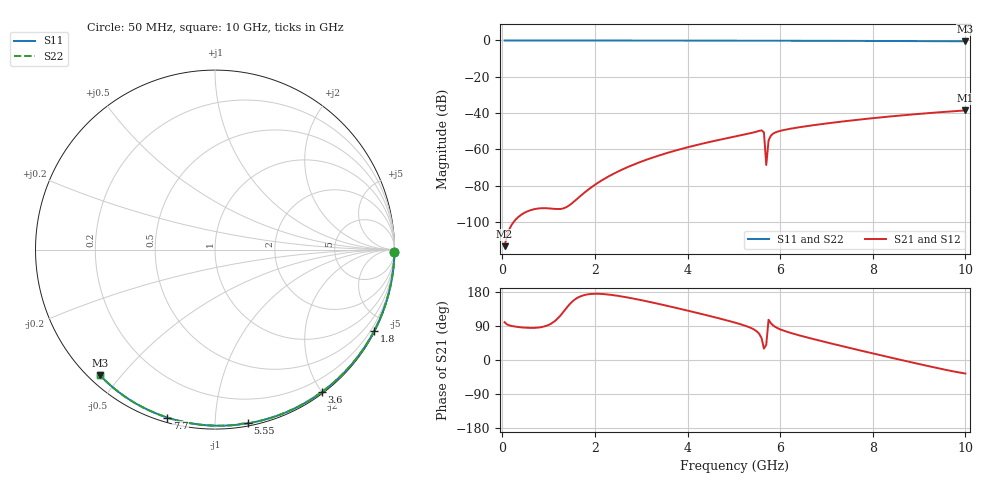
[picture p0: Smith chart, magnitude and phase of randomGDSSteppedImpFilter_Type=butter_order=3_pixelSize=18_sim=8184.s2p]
! freq	dB(S11)	phase(S11)	dB(S12)	phase(S12)
!  dB(S21)	phase(S21)	dB(S22)	phase(S22)
!S-par simulation data
#  GHz  S  DB  R 50
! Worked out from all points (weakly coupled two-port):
!   200 points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, 50 MHz to 10 GHz, reference 50 ohm
!   highest |S21| = -38.53 dB at 10 GHz (marker M1); lowest = -113.2 dB at 50 MHz (marker M2)
!   lowest |S11| = -0.5 dB at 10 GHz (marker M3), VSWR 38.20, Z = 1.56 - j22 ohm
!   |S11| at or under -10 dB: nowhere
!   |S22| runs from -0.5 to 0.0 dB; largest |S21 - S12| = 0
!   S11 on the Smith chart (normalised r, x): 50 MHz: open; 1.8 GHz: 0.04, -4.14; 3.6 GHz: 0.02, -2.00; 5.55 GHz: 0.02, -1.21; 7.7 GHz: 0.02, -0.76; 10 GHz: 0.03, -0.44
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0.05  -0.00 -0.8  -113.23 99.8  -113.23 99.8  -0.00 -0.8
0.9  -0.02 -13.7  -92.32 88.3  -92.32 88.3  -0.02 -13.7
1.75  -0.03 -26.4  -84.26 170.6  -84.26 170.6  -0.03 -26.4
1.8  -0.03 -27.2  -83.22 172.1  -83.22 172.1  -0.03 -27.2
1.95  -0.04 -29.4  -80.34 174.5  -80.34 174.5  -0.04 -29.4
2.65  -0.05 -39.6  -70.34 166.2  -70.34 166.2  -0.05 -39.6
3.4  -0.07 -50.3  -63.19 147.4  -63.19 147.4  -0.07 -50.3
3.6  -0.07 -53.1  -61.63 141.9  -61.63 141.9  -0.07 -53.1
4.25  -0.09 -62.1  -57.22 123.0  -57.22 123.0  -0.09 -62.1
5.05  -0.11 -72.8  -52.74 97.8  -52.74 97.8  -0.11 -72.8
5.55  -0.13 -79.3  -49.76 68.8  -49.76 68.8  -0.13 -79.3
5.6  -0.14 -80.0  -49.47 57.1  -49.47 57.1  -0.13 -80.0
5.65  -0.15 -80.7  -50.64 30.1  -50.64 30.1  -0.15 -80.7
5.7  -0.16 -81.2  -68.54 40.4  -68.54 40.4  -0.16 -81.2
5.75  -0.15 -81.8  -55.04 106.4  -55.04 106.4  -0.15 -81.8
5.8  -0.15 -82.4  -52.33 96.9  -52.33 96.9  -0.15 -82.4
5.85  -0.15 -83.1  -51.23 91.0  -51.23 91.0  -0.15 -83.1
6.1  -0.15 -86.3  -49.19 76.4  -49.19 76.4  -0.15 -86.3
6.7  -0.18 -93.8  -46.70 55.8  -46.70 55.8  -0.18 -93.8
7.7  -0.24 -105.9  -43.59 26.0  -43.59 26.0  -0.24 -105.9
8.35  -0.29 -113.5  -41.90 7.4  -41.90 7.4  -0.29 -113.5
10  -0.45 -132.5  -38.53 -35.7  -38.53 -35.7  -0.45 -132.5
